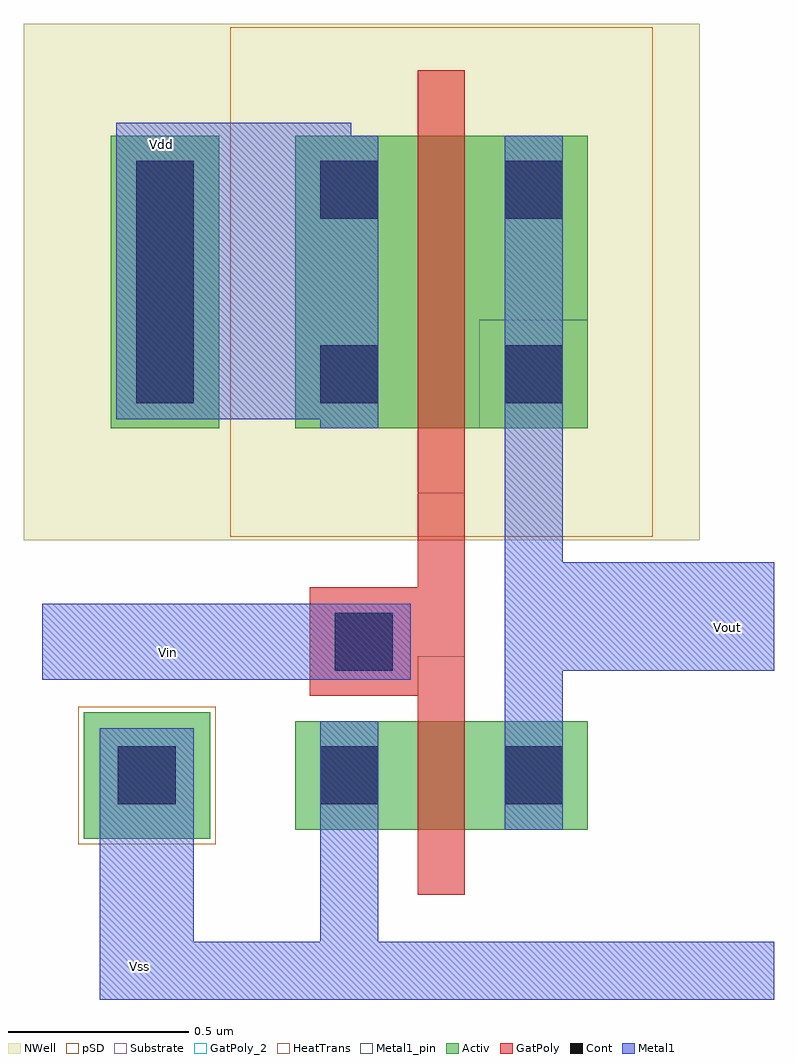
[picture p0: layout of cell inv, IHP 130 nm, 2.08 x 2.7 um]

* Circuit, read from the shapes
.subckt inv Vdd Vin Vout Vss
XM1 Vout Vin Vss Vss sg13_lv_nmos w=0.3u l=0.13u
XM2 Vout Vin Vdd Vdd sg13_lv_pmos w=0.81u l=0.13u
.ends

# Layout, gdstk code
import gdstk
lib = gdstk.Library(unit=1e-6, precision=1e-09)
def R(c, l, rs):  # rectangles x0, y0, x1, y1
    for r in rs: c.add(gdstk.rectangle(r[:2], r[2:], *l))
Activ = (1, 0)
GatPoly = (5, 0)
GatPoly_2 = (5, 2)
Cont = (6, 0)
Metal1 = (8, 0)
Metal1_pin = (8, 2)
pSD = (14, 0)
NWell = (31, 0)
Substrate = (40, 0)
HeatTrans = (51, 0)

nmos = lib.new_cell('nmos')
R(nmos, Activ, [(0,0,0.3,0.3), (0,0,0.81,0.3), (0.51,0,0.81,0.3)])
R(nmos, GatPoly, [(0.34,-0.18,0.47,0.48)])
R(nmos, GatPoly_2, [(0.34,-0.18,0.47,0.48)])
R(nmos, Cont, [(0.07,0.07,0.23,0.23), (0.58,0.07,0.74,0.23)])
R(nmos, Metal1, [(0.07,0,0.23,0.3), (0.58,0,0.74,0.3)])
R(nmos, Metal1_pin, [(0.07,0,0.23,0.3), (0.58,0,0.74,0.3)])
R(nmos, HeatTrans, [(0.34,-0.18,0.47,0.48)])
nmos.add(gdstk.Label('nmos', (0.405,0.15), layer=63, texttype=0))
nmos.add(gdstk.Label('nmos', (0.405,0.15), layer=51, texttype=0))

pmos_1 = lib.new_cell('pmos$1')
R(pmos_1, Activ, [(0,0,0.3,0.3), (0,0,0.81,0.81), (0.51,0,0.81,0.3)])
R(pmos_1, GatPoly, [(0.34,-0.18,0.47,0.99), (0.34,-0.18,0.47,0.99)])
R(pmos_1, Cont, [(0.07,0.07,0.23,0.23), (0.58,0.07,0.74,0.23), (0.07,0.58,0.23,0.74), (0.58,0.58,0.74,0.74)])
R(pmos_1, Metal1, [(0.07,0,0.23,0.81), (0.07,0,0.23,0.81), (0.58,0,0.74,0.81), (0.58,0,0.74,0.81)])
R(pmos_1, pSD, [(-0.18,-0.3,0.99,1.11)])
R(pmos_1, NWell, [(-0.31,-0.31,1.12,1.12)])
R(pmos_1, Substrate, [(0.51,0,0.81,0.3)])
R(pmos_1, HeatTrans, [(0.34,-0.18,0.47,0.99)])
pmos_1.add(gdstk.Label('pmos', (0.405,0.405), layer=63, texttype=0))
pmos_1.add(gdstk.Label('pmos', (0.405,0.405), layer=51, texttype=0))

inv = lib.new_cell('inv')
R(inv, Activ, [(-1.71,0.405,-1.36,0.755), (-1.635,1.54,-1.335,2.35)])
R(inv, GatPoly, [(-1.085,0.8,-0.785,1.1), (-0.785,0.91,-0.655,1.36)])
R(inv, Cont, [(-1.615,0.5,-1.455,0.66), (-1.015,0.87,-0.855,1.03), (-1.565,1.61,-1.405,2.28)])
R(inv, Metal1, [(-1.665,-0.04,-1.405,0.71), (-1.44,-0.04,0.2,0.12), (-1.055,-0.03,-0.895,0.43), (-0.545,0.705,-0.385,1.54), (-1.825,0.845,-0.805,1.055), (-0.385,0.87,0.2,1.17), (-1.62,1.565,-0.97,2.385)])
R(inv, pSD, [(-1.725,0.39,-1.345,0.77)])
R(inv, NWell, [(-1.875,1.23,-1.435,2.66)])
inv.add(gdstk.Reference(nmos, (-1.125,0.43)))
inv.add(gdstk.Reference(pmos_1, (-1.125,1.54)))
inv.add(gdstk.Label('Vout', (0.07,0.99), layer=8, texttype=25))
inv.add(gdstk.Label('Vss', (-1.555,0.05), layer=8, texttype=25))
inv.add(gdstk.Label('Vin', (-1.475,0.92), layer=8, texttype=25))
inv.add(gdstk.Label('Vdd', (-1.495,2.325), layer=8, texttype=25))

lib.write_gds('inv.gds')
